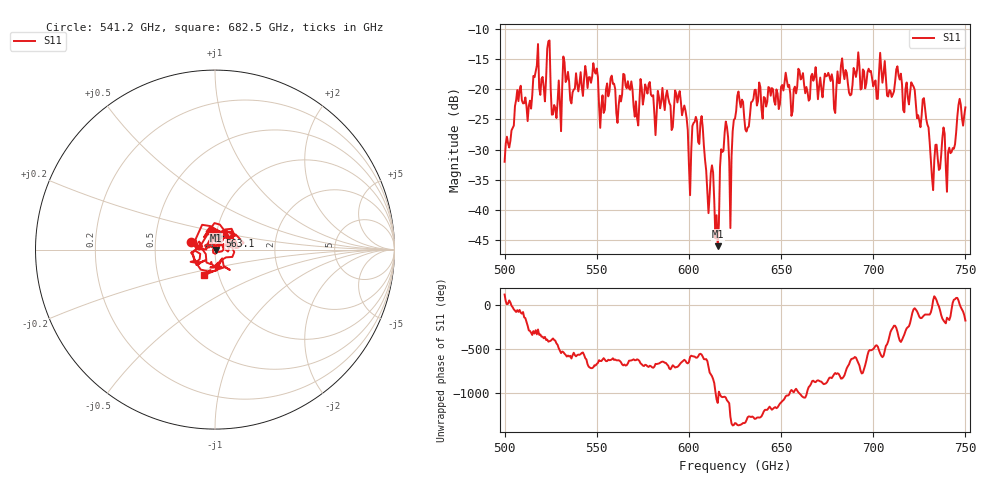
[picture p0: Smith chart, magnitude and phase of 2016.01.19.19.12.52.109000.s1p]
!Created with skrf (http://scikit-rf.org).
# GHz S RI R 50.0
!freq ReS11 ImS11
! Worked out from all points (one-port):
!   401 points, 500 GHz to 750 GHz, reference 50 ohm
!   lowest |S11| = -46.0 dB at 615.6 GHz (marker M1), VSWR 1.01, Z = 50.4 - j0.239 ohm
!   |S11| at or under -10 dB: start of sweep to end of sweep
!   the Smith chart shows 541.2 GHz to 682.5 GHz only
!   S11 on the Smith chart (normalised r, x): 541.2 GHz: 0.76, +0.06; 563.1 GHz: 1.04, +0.16; 682.5 GHz: 0.85, -0.25
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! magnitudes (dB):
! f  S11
! 500 GHz  -32.0
! 507.5 GHz  -22.0
! 513.8 GHz  -21.9
! 516.9 GHz  -17.0
! 520.6 GHz  -18.0
! 523.8 GHz  -12.1
! 526.9 GHz  -22.6
! 531.2 GHz  -19.6
! 541.2 GHz  -17.2
! 562.5 GHz  -21.1
! 563.1 GHz  -22.0
! 593.8 GHz  -22.2
! 600 GHz  -32.5
! 603.1 GHz  -25.4
! 607.5 GHz  -26.3
! 610 GHz  -36.9
! 615.6 GHz  -46.0
! 618.8 GHz  -30.2
! 622.5 GHz  -43.0
! 625 GHz  -24.9
! 656.2 GHz  -23.7
! 682.5 GHz  -16.1
! 687.5 GHz  -21.0
! 705 GHz  -18.9
! 718.8 GHz  -21.4
! 728.1 GHz  -23.2
! 732.5 GHz  -36.7
! 750 GHz  -23.0
